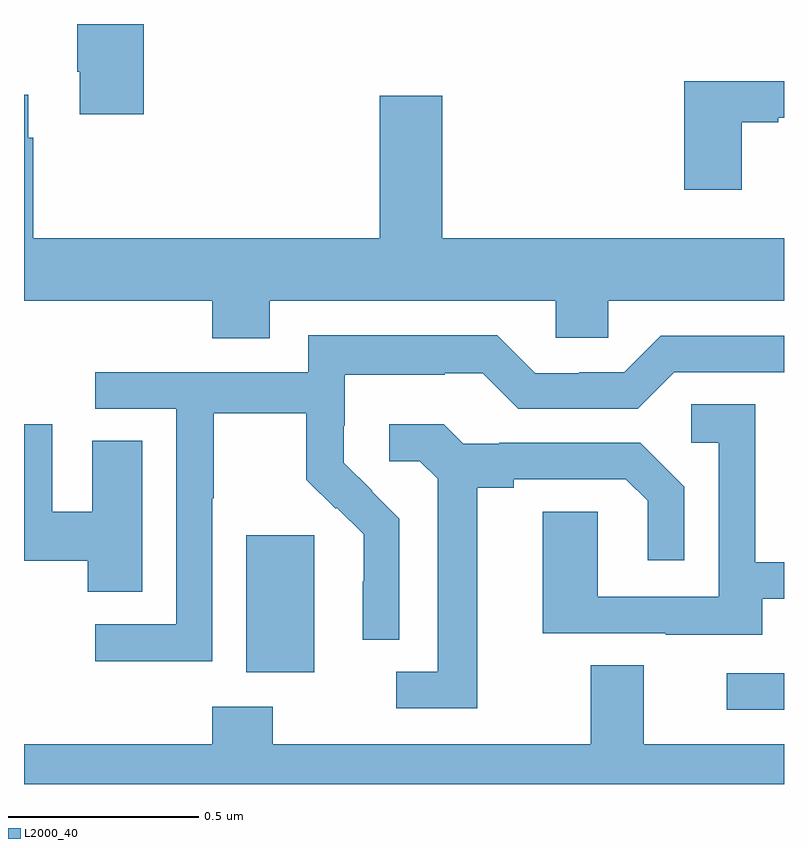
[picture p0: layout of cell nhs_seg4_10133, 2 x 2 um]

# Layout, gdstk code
import gdstk
lib = gdstk.Library(unit=1e-6, precision=1e-09)
def R(c, l, rs):  # rectangles x0, y0, x1, y1
    for r in rs: c.add(gdstk.rectangle(r[:2], r[2:], *l))
def P(c, l, *ps):  # polygons
    for p in ps: c.add(gdstk.Polygon(p, *l))
L2000_40 = (2000, 40)

nhs_seg4_10133 = lib.new_cell('nhs_seg4_10133')
R(nhs_seg4_10133, L2000_40, [(237.849,777.096,238,777.192), (236.585,777.194,236.764,777.555)])
P(nhs_seg4_10133, L2000_40, [(236.315,778.9),(236.14,778.9),(236.14,778.774),(236.147,778.774),(236.147,778.662),(236.315,778.662)],
  [(237.889,778.641),(237.985,778.641),(237.985,778.653),(238,778.653),(238,778.75),(237.737,778.75),(237.737,778.464),(237.889,778.464)],
  [(236.647,778.172),(237.399,778.172),(237.399,778.074),(237.537,778.074),(237.537,778.172),(238,778.172),(238,778.336),(237.1,778.336),(237.1,778.711),(236.936,778.711),(236.936,778.336),(236.024,778.336),(236.024,778.601),(236.011,778.601),(236.011,778.714),(236,778.714),(236,778.172),(236.495,778.172),(236.495,778.073),(236.647,778.073)],
  [(236.496,777.652),(236.499,777.652),(236.499,777.876),(236.743,777.876),(236.743,777.701),(236.82,777.624),(236.823,777.627),(236.894,777.557),(236.894,777.434),(236.892,777.434),(236.892,777.28),(236.988,777.28),(236.988,777.598),(236.915,777.671),(236.916,777.672),(236.842,777.746),(236.842,777.843),(236.844,777.843),(236.844,777.977),(237.107,777.977),(237.107,777.981),(237.207,777.981),(237.3,777.888),(237.615,777.888),(237.711,777.984),(238,777.984),(238,778.08),(237.675,778.08),(237.579,777.984),(237.461,777.984),(237.461,777.981),(237.345,777.981),(237.245,778.081),(236.748,778.081),(236.748,777.984),(236.187,777.984),(236.187,777.888),(236.4,777.888),(236.4,777.321),(236.187,777.321),(236.187,777.223),(236.496,777.223)],
  [(237.943,777.387),(238,777.387),(238,777.483),(237.924,777.483),(237.924,777.899),(237.756,777.899),(237.756,777.798),(237.828,777.798),(237.828,777.393),(237.51,777.393),(237.51,777.617),(237.365,777.617),(237.365,777.297),(237.689,777.297),(237.689,777.293),(237.943,777.293)],
  [(237.193,777.68),(237.289,777.68),(237.289,777.702),(237.584,777.702),(237.641,777.645),(237.641,777.489),(237.738,777.489),(237.738,777.682),(237.622,777.798),(237.25,777.798),(237.25,777.795),(237.156,777.795),(237.104,777.847),(236.961,777.847),(236.961,777.75),(237.042,777.75),(237.089,777.703),(237.089,777.195),(236.979,777.195),(236.979,777.099),(237.193,777.099)],
  [(236.311,777.803),(236.18,777.803),(236.18,777.616),(236.074,777.616),(236.074,777.847),(236,777.847),(236,777.487),(236.168,777.487),(236.168,777.406),(236.311,777.406)],
  [(236.655,777.103),(236.495,777.103),(236.495,777.004),(236,777.004),(236,776.9),(238,776.9),(238,777.004),(237.631,777.004),(237.631,777.212),(237.491,777.212),(237.491,777.004),(236.655,777.004)])

lib.write_gds('nhs_seg4_10133.gds')
